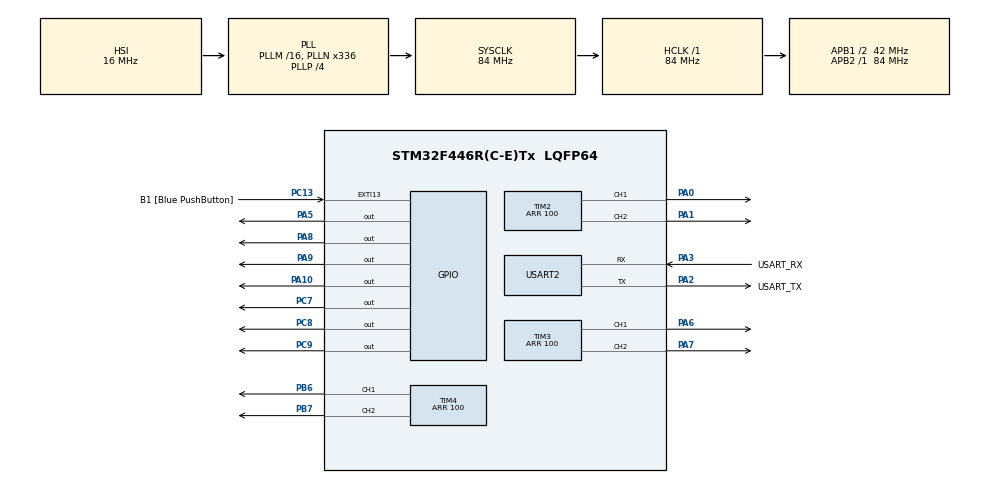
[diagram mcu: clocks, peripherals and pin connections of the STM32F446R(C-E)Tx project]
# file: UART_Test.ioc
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Mcu.Family=STM32F4
Mcu.Name=STM32F446R(C-E)Tx
Mcu.Package=LQFP64
NVIC.PriorityGroup=NVIC_PRIORITYGROUP_0
NVIC.TIM2_IRQn=true\:0\:0\:false\:false\:true\:true\:true\:true
NVIC.TIM3_IRQn=true\:0\:0\:false\:false\:true\:true\:true\:true
NVIC.TIM4_IRQn=true\:0\:0\:false\:false\:true\:true\:true\:true
NVIC.USART2_IRQn=true\:0\:0\:false\:false\:true\:true\:true\:true
PA0-WKUP.Signal=S_TIM2_CH1_ETR
PA1.Signal=S_TIM2_CH2
PA10.Signal=GPIO_Output
PA13.GPIO_Label=TMS
PA13.Mode=Serial_Wire
PA13.Signal=SYS_JTMS-SWDIO
PA14.GPIO_Label=TCK
PA14.Mode=Serial_Wire
PA14.Signal=SYS_JTCK-SWCLK
PA2.GPIO_Label=USART_TX
PA2.Mode=Asynchronous
PA2.Signal=USART2_TX
PA3.GPIO_Label=USART_RX
PA3.Mode=Asynchronous
PA3.Signal=USART2_RX
PA5.Signal=GPIO_Output
PA6.Signal=S_TIM3_CH1
PA7.Signal=S_TIM3_CH2
PA8.Signal=GPIO_Output
PA9.Signal=GPIO_Output
PB3.GPIO_Label=SWO
PB3.Signal=SYS_JTDO-SWO
PB6.Signal=S_TIM4_CH1
PB7.Signal=S_TIM4_CH2
PC13.GPIO_Label=B1 [Blue PushButton]
PC13.GPIO_ModeDefaultEXTI=GPIO_MODE_IT_FALLING
PC13.Signal=GPXTI13
PC14-OSC32_IN.Mode=LSE-External-Oscillator
PC14-OSC32_IN.Signal=RCC_OSC32_IN
PC15-OSC32_OUT.Mode=LSE-External-Oscillator
PC15-OSC32_OUT.Signal=RCC_OSC32_OUT
PC7.Signal=GPIO_Output
PC8.Signal=GPIO_Output
PC9.Signal=GPIO_Output
PH0-OSC_IN.Mode=HSE-External-Oscillator
PH0-OSC_IN.Signal=RCC_OSC_IN
PH1-OSC_OUT.Mode=HSE-External-Oscillator
PH1-OSC_OUT.Signal=RCC_OSC_OUT
ProjectManager.HeapSize=0x200
ProjectManager.StackSize=0x400
ProjectManager.TargetToolchain=STM32CubeIDE
RCC.48MHZClocksFreq_Value=84000000
RCC.AHBFreq_Value=84000000
RCC.APB1CLKDivider=RCC_HCLK_DIV2
RCC.APB1Freq_Value=42000000
RCC.APB1TimFreq_Value=84000000
RCC.APB2Freq_Value=84000000
RCC.APB2TimFreq_Value=84000000
RCC.CortexFreq_Value=84000000
RCC.FLatency-AdvancedSettings=FLASH_LATENCY_2
RCC.HCLKFreq_Value=84000000
RCC.HSE_VALUE=8000000
RCC.HSI_VALUE=16000000
RCC.PLLN=336
RCC.PLLP=RCC_PLLP_DIV4
RCC.SYSCLKFreq_VALUE=84000000
RCC.SYSCLKSource=RCC_SYSCLKSOURCE_PLLCLK
RCC.USBFreq_Value=168000000
RCC.VCOOutputFreq_Value=336000000
SH.S_TIM2_CH1_ETR.0=TIM2_CH1,PWM Generation1 CH1
SH.S_TIM2_CH2.0=TIM2_CH2,PWM Generation2 CH2
SH.S_TIM3_CH1.0=TIM3_CH1,PWM Generation1 CH1
SH.S_TIM3_CH2.0=TIM3_CH2,PWM Generation2 CH2
SH.S_TIM4_CH1.0=TIM4_CH1,PWM Generation1 CH1
SH.S_TIM4_CH2.0=TIM4_CH2,PWM Generation2 CH2
TIM2.Channel-PWM\ Generation1\ CH1=TIM_CHANNEL_1
TIM2.Channel-PWM\ Generation2\ CH2=TIM_CHANNEL_2
TIM2.Period=100
TIM2.Pulse-PWM\ Generation1\ CH1=1
TIM3.Channel-PWM\ Generation1\ CH1=TIM_CHANNEL_1
TIM3.Channel-PWM\ Generation2\ CH2=TIM_CHANNEL_2
TIM3.Period=100
TIM3.Pulse-PWM\ Generation1\ CH1=1
TIM4.Channel-PWM\ Generation1\ CH1=TIM_CHANNEL_1
TIM4.Channel-PWM\ Generation2\ CH2=TIM_CHANNEL_2
TIM4.Period=100
TIM4.Pulse-PWM\ Generation1\ CH1=1
USART2.VirtualMode=VM_ASYNC
VP_TIM2_VS_ClockSourceINT.Mode=Internal
VP_TIM3_VS_ClockSourceINT.Mode=Internal
VP_TIM4_VS_ClockSourceINT.Mode=Internal
board=NUCLEO-F446RE

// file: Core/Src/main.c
/* USER CODE BEGIN Header */
/**
  ******************************************************************************
  * @file           : main.c
  * @brief          : Main program body
  ******************************************************************************
  * @attention
  *
  * Copyright (c) 2023 STMicroelectronics.
  * All rights reserved.
  *
  * This software is licensed under terms that can be found in the LICENSE file
  * in the root directory of this software component.
  * If no LICENSE file comes with this software, it is provided AS-IS.
  *
  ******************************************************************************
  */
/* USER CODE END Header */
#include "main.h"

/* USER CODE BEGIN Includes */
#include <string.h>
#include <stdio.h>
#include <stdlib.h>
#include "UARTBuffer.h"
/* USER CODE END Includes */

TIM_HandleTypeDef htim2;
TIM_HandleTypeDef htim3;
TIM_HandleTypeDef htim4;

UART_HandleTypeDef huart2;

/* USER CODE BEGIN PV */

// transmit
uint8_t tx_buffer[23] = "aeybel is a smart mann\n";

// receive
uint8_t rx_indx;
uint8_t rx_data[2]; // how much data are we receiving at a time (2 bytes currently)
uint8_t rx_buffer[100];
uint8_t transfer_cplt; // flag that tells us when transfer is complete

// for counting steps needed for each motor
uint16_t motor1_steps = 0;
uint16_t motor2_steps = 0;
uint16_t motor3_steps = 0;
uint16_t motor4_steps = 0;
uint16_t motor5_steps = 0;
uint16_t motor6_steps = 0;

/* USER CODE END PV */

void SystemClock_Config(void);
static void MX_GPIO_Init(void);
static void MX_USART2_UART_Init(void);
static void MX_TIM2_Init(void);
static void MX_TIM3_Init(void);
static void MX_TIM4_Init(void);

int main(void)
{

  /* MCU Configuration--------------------------------------------------------*/

  /* Reset of all peripherals, Initializes the Flash interface and the Systick. */
  HAL_Init();

  /* Configure the system clock */
  SystemClock_Config();

  /* Initialize all configured peripherals */
  MX_GPIO_Init();
  MX_USART2_UART_Init();
  MX_TIM2_Init();
  MX_TIM3_Init();
  MX_TIM4_Init();
  /* USER CODE BEGIN 2 */

  // start UART:
  HAL_UART_Receive_IT(&huart2, rx_data, 1); // interrupt based UART receive

  // start interrupt-based PWM timers:
  HAL_TIM_PWM_Start_IT(&htim2, TIM_CHANNEL_1);
  HAL_TIM_PWM_Start_IT(&htim2, TIM_CHANNEL_2);
  HAL_TIM_PWM_Start_IT(&htim3, TIM_CHANNEL_1);
  HAL_TIM_PWM_Start_IT(&htim3, TIM_CHANNEL_2);
  HAL_TIM_PWM_Start_IT(&htim4, TIM_CHANNEL_1);
  HAL_TIM_PWM_Start_IT(&htim4, TIM_CHANNEL_2);

  /* USER CODE END 2 */

  /* Infinite loop */
  while (1)
  {

  }
}

void SystemClock_Config(void)
{
  RCC_OscInitTypeDef RCC_OscInitStruct = {0};
  RCC_ClkInitTypeDef RCC_ClkInitStruct = {0};

  /** Configure the main internal regulator output voltage
  */
  __HAL_RCC_PWR_CLK_ENABLE();
  __HAL_PWR_VOLTAGESCALING_CONFIG(PWR_REGULATOR_VOLTAGE_SCALE3);

  /** Initializes the RCC Oscillators according to the specified parameters
  * in the RCC_OscInitTypeDef structure.
  */
  RCC_OscInitStruct.OscillatorType = RCC_OSCILLATORTYPE_HSI;
  RCC_OscInitStruct.HSIState = RCC_HSI_ON;
  RCC_OscInitStruct.HSICalibrationValue = RCC_HSICALIBRATION_DEFAULT;
  RCC_OscInitStruct.PLL.PLLState = RCC_PLL_ON;
  RCC_OscInitStruct.PLL.PLLSource = RCC_PLLSOURCE_HSI;
  RCC_OscInitStruct.PLL.PLLM = 16;
  RCC_OscInitStruct.PLL.PLLN = 336;
  RCC_OscInitStruct.PLL.PLLP = RCC_PLLP_DIV4;
  RCC_OscInitStruct.PLL.PLLQ = 2;
  RCC_OscInitStruct.PLL.PLLR = 2;
  if (HAL_RCC_OscConfig(&RCC_OscInitStruct) != HAL_OK)
  {
    Error_Handler();
  }

  /** Initializes the CPU, AHB and APB buses clocks
  */
  RCC_ClkInitStruct.ClockType = RCC_CLOCKTYPE_HCLK|RCC_CLOCKTYPE_SYSCLK
                              |RCC_CLOCKTYPE_PCLK1|RCC_CLOCKTYPE_PCLK2;
  RCC_ClkInitStruct.SYSCLKSource = RCC_SYSCLKSOURCE_PLLCLK;
  RCC_ClkInitStruct.AHBCLKDivider = RCC_SYSCLK_DIV1;
  RCC_ClkInitStruct.APB1CLKDivider = RCC_HCLK_DIV2;
  RCC_ClkInitStruct.APB2CLKDivider = RCC_HCLK_DIV1;

  if (HAL_RCC_ClockConfig(&RCC_ClkInitStruct, FLASH_LATENCY_2) != HAL_OK)
  {
    Error_Handler();
  }
}

static void MX_TIM2_Init(void)
{

  TIM_ClockConfigTypeDef sClockSourceConfig = {0};
  TIM_MasterConfigTypeDef sMasterConfig = {0};
  TIM_OC_InitTypeDef sConfigOC = {0};

  htim2.Instance = TIM2;
  htim2.Init.Prescaler = 0;
  htim2.Init.CounterMode = TIM_COUNTERMODE_UP;
  htim2.Init.Period = 100;
  htim2.Init.ClockDivision = TIM_CLOCKDIVISION_DIV1;
  htim2.Init.AutoReloadPreload = TIM_AUTORELOAD_PRELOAD_DISABLE;
  if (HAL_TIM_Base_Init(&htim2) != HAL_OK)
  {
    Error_Handler();
  }
  sClockSourceConfig.ClockSource = TIM_CLOCKSOURCE_INTERNAL;
  if (HAL_TIM_ConfigClockSource(&htim2, &sClockSourceConfig) != HAL_OK)
  {
    Error_Handler();
  }
  if (HAL_TIM_PWM_Init(&htim2) != HAL_OK)
  {
    Error_Handler();
  }
  sMasterConfig.MasterOutputTrigger = TIM_TRGO_RESET;
  sMasterConfig.MasterSlaveMode = TIM_MASTERSLAVEMODE_DISABLE;
  if (HAL_TIMEx_MasterConfigSynchronization(&htim2, &sMasterConfig) != HAL_OK)
  {
    Error_Handler();
  }
  sConfigOC.OCMode = TIM_OCMODE_PWM1;
  sConfigOC.Pulse = 1;
  sConfigOC.OCPolarity = TIM_OCPOLARITY_HIGH;
  sConfigOC.OCFastMode = TIM_OCFAST_DISABLE;
  if (HAL_TIM_PWM_ConfigChannel(&htim2, &sConfigOC, TIM_CHANNEL_1) != HAL_OK)
  {
    Error_Handler();
  }
  sConfigOC.Pulse = 0;
  if (HAL_TIM_PWM_ConfigChannel(&htim2, &sConfigOC, TIM_CHANNEL_2) != HAL_OK)
  {
    Error_Handler();
  }
  HAL_TIM_MspPostInit(&htim2);

}

static void MX_TIM3_Init(void)
{

  TIM_ClockConfigTypeDef sClockSourceConfig = {0};
  TIM_MasterConfigTypeDef sMasterConfig = {0};
  TIM_OC_InitTypeDef sConfigOC = {0};

  htim3.Instance = TIM3;
  htim3.Init.Prescaler = 0;
  htim3.Init.CounterMode = TIM_COUNTERMODE_UP;
  htim3.Init.Period = 100;
  htim3.Init.ClockDivision = TIM_CLOCKDIVISION_DIV1;
  htim3.Init.AutoReloadPreload = TIM_AUTORELOAD_PRELOAD_DISABLE;
  if (HAL_TIM_Base_Init(&htim3) != HAL_OK)
  {
    Error_Handler();
  }
  sClockSourceConfig.ClockSource = TIM_CLOCKSOURCE_INTERNAL;
  if (HAL_TIM_ConfigClockSource(&htim3, &sClockSourceConfig) != HAL_OK)
  {
    Error_Handler();
  }
  if (HAL_TIM_PWM_Init(&htim3) != HAL_OK)
  {
    Error_Handler();
  }
  sMasterConfig.MasterOutputTrigger = TIM_TRGO_RESET;
  sMasterConfig.MasterSlaveMode = TIM_MASTERSLAVEMODE_DISABLE;
  if (HAL_TIMEx_MasterConfigSynchronization(&htim3, &sMasterConfig) != HAL_OK)
  {
    Error_Handler();
  }
  sConfigOC.OCMode = TIM_OCMODE_PWM1;
  sConfigOC.Pulse = 1;
  sConfigOC.OCPolarity = TIM_OCPOLARITY_HIGH;
  sConfigOC.OCFastMode = TIM_OCFAST_DISABLE;
  if (HAL_TIM_PWM_ConfigChannel(&htim3, &sConfigOC, TIM_CHANNEL_1) != HAL_OK)
  {
    Error_Handler();
  }
  sConfigOC.Pulse = 0;
  if (HAL_TIM_PWM_ConfigChannel(&htim3, &sConfigOC, TIM_CHANNEL_2) != HAL_OK)
  {
    Error_Handler();
  }
  HAL_TIM_MspPostInit(&htim3);

}

static void MX_TIM4_Init(void)
{

  TIM_ClockConfigTypeDef sClockSourceConfig = {0};
  TIM_MasterConfigTypeDef sMasterConfig = {0};
  TIM_OC_InitTypeDef sConfigOC = {0};

  htim4.Instance = TIM4;
  htim4.Init.Prescaler = 0;
  htim4.Init.CounterMode = TIM_COUNTERMODE_UP;
  htim4.Init.Period = 100;
  htim4.Init.ClockDivision = TIM_CLOCKDIVISION_DIV1;
  htim4.Init.AutoReloadPreload = TIM_AUTORELOAD_PRELOAD_DISABLE;
  if (HAL_TIM_Base_Init(&htim4) != HAL_OK)
  {
    Error_Handler();
  }
  sClockSourceConfig.ClockSource = TIM_CLOCKSOURCE_INTERNAL;
  if (HAL_TIM_ConfigClockSource(&htim4, &sClockSourceConfig) != HAL_OK)
  {
    Error_Handler();
  }
  if (HAL_TIM_PWM_Init(&htim4) != HAL_OK)
  {
    Error_Handler();
  }
  sMasterConfig.MasterOutputTrigger = TIM_TRGO_RESET;
  sMasterConfig.MasterSlaveMode = TIM_MASTERSLAVEMODE_DISABLE;
  if (HAL_TIMEx_MasterConfigSynchronization(&htim4, &sMasterConfig) != HAL_OK)
  {
    Error_Handler();
  }
  sConfigOC.OCMode = TIM_OCMODE_PWM1;
  sConfigOC.Pulse = 1;
  sConfigOC.OCPolarity = TIM_OCPOLARITY_HIGH;
  sConfigOC.OCFastMode = TIM_OCFAST_DISABLE;
  if (HAL_TIM_PWM_ConfigChannel(&htim4, &sConfigOC, TIM_CHANNEL_1) != HAL_OK)
  {
    Error_Handler();
  }
  sConfigOC.Pulse = 0;
  if (HAL_TIM_PWM_ConfigChannel(&htim4, &sConfigOC, TIM_CHANNEL_2) != HAL_OK)
  {
    Error_Handler();
  }
  HAL_TIM_MspPostInit(&htim4);

}

static void MX_USART2_UART_Init(void)
{

  huart2.Instance = USART2;
  huart2.Init.BaudRate = 115200;
  huart2.Init.WordLength = UART_WORDLENGTH_8B;
  huart2.Init.StopBits = UART_STOPBITS_1;
  huart2.Init.Parity = UART_PARITY_NONE;
  huart2.Init.Mode = UART_MODE_TX_RX;
  huart2.Init.HwFlowCtl = UART_HWCONTROL_NONE;
  huart2.Init.OverSampling = UART_OVERSAMPLING_16;
  if (HAL_UART_Init(&huart2) != HAL_OK)
  {
    Error_Handler();
  }

}

static void MX_GPIO_Init(void)
{
  GPIO_InitTypeDef GPIO_InitStruct = {0};

  /* GPIO Ports Clock Enable */
  __HAL_RCC_GPIOC_CLK_ENABLE();
  __HAL_RCC_GPIOH_CLK_ENABLE();
  __HAL_RCC_GPIOA_CLK_ENABLE();
  __HAL_RCC_GPIOB_CLK_ENABLE();

  /*Configure GPIO pin Output Level */
  HAL_GPIO_WritePin(GPIOA, GPIO_PIN_5|GPIO_PIN_8|GPIO_PIN_9|GPIO_PIN_10, GPIO_PIN_RESET);

  /*Configure GPIO pin Output Level */
  HAL_GPIO_WritePin(GPIOC, GPIO_PIN_7|GPIO_PIN_8|GPIO_PIN_9, GPIO_PIN_RESET);

  /*Configure GPIO pin : B1_Pin */
  GPIO_InitStruct.Pin = B1_Pin;
  GPIO_InitStruct.Mode = GPIO_MODE_IT_FALLING;
  GPIO_InitStruct.Pull = GPIO_NOPULL;
  HAL_GPIO_Init(B1_GPIO_Port, &GPIO_InitStruct);

  /*Configure GPIO pins : PA5 PA8 PA9 PA10 */
  GPIO_InitStruct.Pin = GPIO_PIN_5|GPIO_PIN_8|GPIO_PIN_9|GPIO_PIN_10;
  GPIO_InitStruct.Mode = GPIO_MODE_OUTPUT_PP;
  GPIO_InitStruct.Pull = GPIO_NOPULL;
  GPIO_InitStruct.Speed = GPIO_SPEED_FREQ_LOW;
  HAL_GPIO_Init(GPIOA, &GPIO_InitStruct);

  /*Configure GPIO pins : PC7 PC8 PC9 */
  GPIO_InitStruct.Pin = GPIO_PIN_7|GPIO_PIN_8|GPIO_PIN_9;
  GPIO_InitStruct.Mode = GPIO_MODE_OUTPUT_PP;
  GPIO_InitStruct.Pull = GPIO_NOPULL;
  GPIO_InitStruct.Speed = GPIO_SPEED_FREQ_LOW;
  HAL_GPIO_Init(GPIOC, &GPIO_InitStruct);

}

/* USER CODE BEGIN 4 */

// we come to this function after a successful receive
// huart = the uart that was configured for this receive

void HAL_UART_RxCpltCallback(UART_HandleTypeDef *huart)
{
  /* Prevent unused argument(s) compilation warning */
  UNUSED(huart);
  /* NOTE: This function should not be modified, when the callback is needed,
           the HAL_UART_RxCpltCallback could be implemented in the user file
   */
  __disable_irq();

  uint8_t i;
  if (huart->Instance == USART2) { // make sure we're working with our correct instance of UART (PA2-3 = USART2 TX/RX)

	  if (rx_indx == 0) {
		  for (i = 0; i < 100; i++) {
			  rx_buffer[i] = 0; // clear the buffer for a new message once the user clicked enter
		  }
	  }

	  if (rx_data[0] != 13) { // enter button = ascii 13
		  rx_buffer[rx_indx++] = rx_data[0]; // reading a byte at a time in our RX buffer
	  } else {
		  rx_indx = 0; // if user has clicked the enter button, compare our rx_buffer with desired string, then clear the buffer for next message
		  transfer_cplt = 1; // set flag
		  HAL_UART_Transmit(&huart2, (uint8_t *)"\n\r", 2, 100);

		  char command[6];
		  int motorValue1, motorValue2, motorValue3, motorValue4, motorValue5, motorValue6;
		  	  	  	  	   /* value represents different things based on command:
		  	  	  	  	  - MOVE: how many steps will we be sending the motor?
		  	  	  	  	  - FREQ: what period do we want to change it to?
		   	   	   	   	   */

		  /*
		   *
		   * Direction Pins
				PA10 - Motor 1
				PA9 - Motor 2
				PA8 - Motor 3
				PC9 - Motor 4
				PC8 - Motor 5
				PC7 - Motor 6
		   *
		   *
		   * for PWM:
				PA0
				PA1
				PA6
				PA7
				PB6
				PB7

			for UART:
				PA2 = UART_TX
				PA3 = UART_RX
		   *
		   *
		   */

		  if (sscanf((char *)rx_buffer, "%s %d %d %d %d %d %d", command, &motorValue1, &motorValue2, &motorValue3, &motorValue4, &motorValue5, &motorValue6) == 7) {

			  if (!(strcmp(command, "MOTOR"))) { // move motor N pulses

				  // populate counter for the number of steps left
				  motor1_steps = motorValue1;
				  motor2_steps = motorValue2;
				  motor3_steps = motorValue3;
				  motor4_steps = motorValue4;
				  motor5_steps = motorValue5;
				  motor6_steps = motorValue6;

				  /* set direction pins */
				  if (motorValue1 < 0) HAL_GPIO_WritePin(GPIOA, GPIO_PIN_10, GPIO_PIN_RESET); // set direction pin low for negative
				  else HAL_GPIO_WritePin(GPIOA, GPIO_PIN_10, GPIO_PIN_SET); // set direction pin high for positive

				  if (motorValue2 < 0) HAL_GPIO_WritePin(GPIOA, GPIO_PIN_9, GPIO_PIN_RESET);
				  else HAL_GPIO_WritePin(GPIOA, GPIO_PIN_9, GPIO_PIN_SET);

				  if (motorValue3 < 0) HAL_GPIO_WritePin(GPIOA, GPIO_PIN_8, GPIO_PIN_RESET);
				  else HAL_GPIO_WritePin(GPIOA, GPIO_PIN_8, GPIO_PIN_SET);

				  if (motorValue4 < 0) HAL_GPIO_WritePin(GPIOC, GPIO_PIN_9, GPIO_PIN_RESET);
				  else HAL_GPIO_WritePin(GPIOC, GPIO_PIN_9, GPIO_PIN_SET);

				  if (motorValue5 < 0) HAL_GPIO_WritePin(GPIOC, GPIO_PIN_8, GPIO_PIN_RESET);
				  else HAL_GPIO_WritePin(GPIOC, GPIO_PIN_8, GPIO_PIN_SET);

				  if (motorValue6 < 0) HAL_GPIO_WritePin(GPIOC, GPIO_PIN_7, GPIO_PIN_RESET);
				  else HAL_GPIO_WritePin(GPIOC, GPIO_PIN_7, GPIO_PIN_SET);

				  /* start motors again */
				  if (motor1_steps != 0) HAL_TIM_PWM_Start_IT(&htim2, TIM_CHANNEL_1);
				  if (motor2_steps != 0) HAL_TIM_PWM_Start_IT(&htim2, TIM_CHANNEL_2);
				  if (motor3_steps != 0) HAL_TIM_PWM_Start_IT(&htim3, TIM_CHANNEL_1);
				  if (motor4_steps != 0) HAL_TIM_PWM_Start_IT(&htim3, TIM_CHANNEL_2);
				  if (motor5_steps != 0) HAL_TIM_PWM_Start_IT(&htim4, TIM_CHANNEL_1);
				  if (motor6_steps != 0) HAL_TIM_PWM_Start_IT(&htim4, TIM_CHANNEL_2);

				  // just to see some signs of life
				  HAL_GPIO_TogglePin(GPIOA, GPIO_PIN_5);
			  }
		  }

	  }

	  HAL_UART_Receive_IT(&huart2, rx_data, 1); // initialize to interrupt based receive
	  HAL_UART_Transmit(&huart2, rx_data, strlen((char *)rx_data), 100); // initialize to transmit as we write new data to the rx_data byte(s)

  }

  __enable_irq();
}

// this function gets called every time that *some* PWM timer sends a pulse
void HAL_TIM_PWM_PulseFinishedCallback(TIM_HandleTypeDef *htim)
{
	if (htim->Instance == TIM2 &&  htim->Channel == HAL_TIM_ACTIVE_CHANNEL_1) {
		// --global_motor_flag;
		if (motor1_steps != 0) --motor1_steps;
		// if (global motor flag == 0) {disable interrupt, motherfucker!};
		if (motor1_steps == 0) {
			HAL_TIM_PWM_Stop_IT(&htim2, TIM_CHANNEL_1);
		}
	}
	else if (htim->Instance == TIM2 &&  htim->Channel == HAL_TIM_ACTIVE_CHANNEL_2) {
		// --global_motor_flag;
		if (motor2_steps != 0) --motor2_steps;
		// if (global motor flag == 0) {disable interrupt, motherfucker!};
		if (motor2_steps == 0) {
			HAL_TIM_PWM_Stop_IT(&htim2, TIM_CHANNEL_2);
		}
	}
	else if (htim->Instance == TIM3 &&  htim->Channel == HAL_TIM_ACTIVE_CHANNEL_1)
    {
    	// --global_motor_flag;
		if (motor3_steps != 0) --motor3_steps;
		// if (global motor flag == 0) {disable interrupt, motherfucker!};
		if (motor3_steps == 0) {
			HAL_TIM_PWM_Stop_IT(&htim3, TIM_CHANNEL_1);
		}
    }
	else if (htim->Instance == TIM3 &&  htim->Channel == HAL_TIM_ACTIVE_CHANNEL_2) {
    	// --global_motor_flag;
		if (motor4_steps != 0) --motor4_steps;
		// if (global motor flag == 0) {disable interrupt, motherfucker!};
		if (motor4_steps == 0) {
			HAL_TIM_PWM_Stop_IT(&htim3, TIM_CHANNEL_2);
		}
	}
	else if (htim->Instance == TIM4 &&  htim->Channel == HAL_TIM_ACTIVE_CHANNEL_1) {
    	// --global_motor_flag;
		if (motor5_steps != 0) --motor5_steps;
		// if (global motor flag == 0) {disable interrupt, motherfucker!};
		if (motor5_steps == 0) {
			HAL_TIM_PWM_Stop_IT(&htim4, TIM_CHANNEL_1);
		}
	}
	else if (htim->Instance == TIM4 &&  htim->Channel == HAL_TIM_ACTIVE_CHANNEL_2) {
    	// --global_motor_flag;
		if (motor6_steps != 0) --motor6_steps;
		// if (global motor flag == 0) {disable interrupt, motherfucker!};
		if (motor6_steps == 0) {
			HAL_TIM_PWM_Stop_IT(&htim4, TIM_CHANNEL_2);
		}
	}
}

/* USER CODE END 4 */

void Error_Handler(void)
{
  __disable_irq();
  while (1)
  {
  }
}
